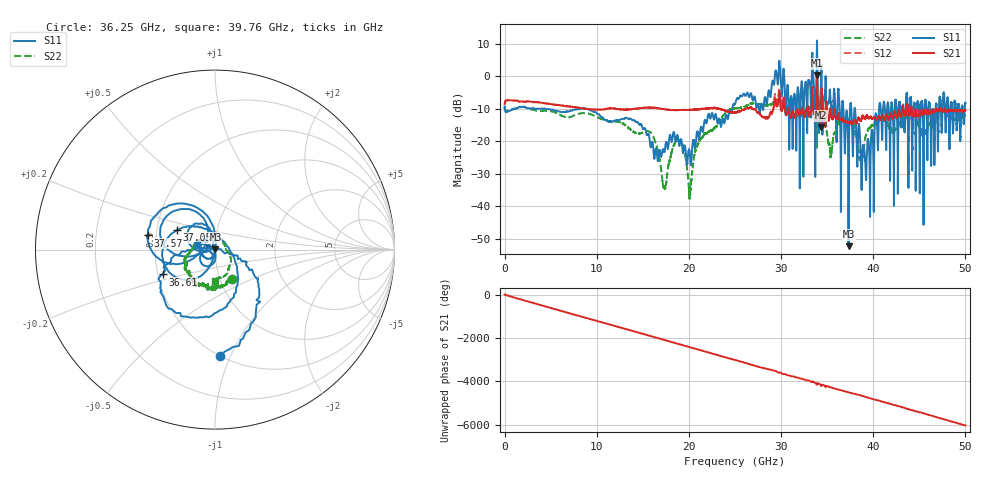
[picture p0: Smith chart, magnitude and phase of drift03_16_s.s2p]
!Created with skrf (http://scikit-rf.org).
# Hz S RI R 50.0
!freq ReS11 ImS11 ReS21 ImS21 ReS12 ImS12 ReS22 ImS22
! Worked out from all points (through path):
!   10001 points, 300 kHz to 50 GHz, reference 50 ohm
!   highest |S21| = 0.36 dB at 33.9 GHz (marker M1); lowest = -15.7 dB at 34.32 GHz (marker M2)
!   group delay of S21, straight-line fit = 335 ps
!   lowest |S11| = -52.3 dB at 37.32 GHz (marker M3), VSWR 1.00, Z = 50.2 + j0.0576 ohm
!   |S11| at or under -10 dB: 4.472 GHz to 7.939 GHz (3.467 GHz wide, 55.9 % of centre); 9.02 GHz to 24.7 GHz (15.68 GHz wide, 93 % of centre); 38.03 GHz to 40.63 GHz (2.601 GHz wide, 6.61 % of centre) (the widest 3 of 58)
!   |S22| runs from -37.7 to -5.9 dB; largest |S21 - S12| = 0.11
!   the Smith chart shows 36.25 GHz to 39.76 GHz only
!   S11 on the Smith chart (normalised r, x): 36.25 GHz: 0.50, -0.92; 36.61 GHz: 0.53, -0.16; 37.05 GHz: 0.64, +0.15; 37.57 GHz: 0.45, +0.08; 39.76 GHz: 0.81, +0.04
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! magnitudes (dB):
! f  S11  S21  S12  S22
! 300 kHz  -9.3  -8.4  -8.4  -9.3
! 8.335 GHz  -9.9  -9.8  -9.8  -11.3
! 16.67 GHz  -25.5  -9.8  -9.8  -23.5
! 17.36 GHz  -23.1  -10.1  -10.1  -34.6
! 19.05 GHz  -20.3  -10.3  -10.3  -19.9
! 20.11 GHz  -23.8  -10.3  -10.3  -35.4
! 21.19 GHz  -17.9  -10.1  -10.1  -19.5
! 25 GHz  -8.5  -11.1  -11.1  -9.8
! 31.08 GHz  -6.1  -12.7  -12.8  -10.5
! 33.34 GHz  0.4  -7.6  -7.7  -9.4
! 33.9 GHz  10.8  0.4  0.0  -18.7
! 34.32 GHz  -2.8  -15.7  -15.1  -11.3
! 35.34 GHz  -6.1  -10.5  -9.9  -24.1
! 36.25 GHz  -4.6  -11.9  -11.9  -14.4
! 36.61 GHz  -9.8  -13.1  -12.9  -13.6
! 37.05 GHz  -12.4  -13.8  -14.0  -13.9
! 37.32 GHz  -52.3  -14.3  -14.5  -13.6
! 37.57 GHz  -8.3  -13.9  -13.8  -14.3
! 38.7 GHz  -29.5  -13.5  -13.4  -25.2
! 39.76 GHz  -19.6  -12.5  -12.4  -15.2
! 41.67 GHz  -9.6  -13.4  -13.3  -14.7
! 50 GHz  -8.2  -10.4  -10.5  -12.1
